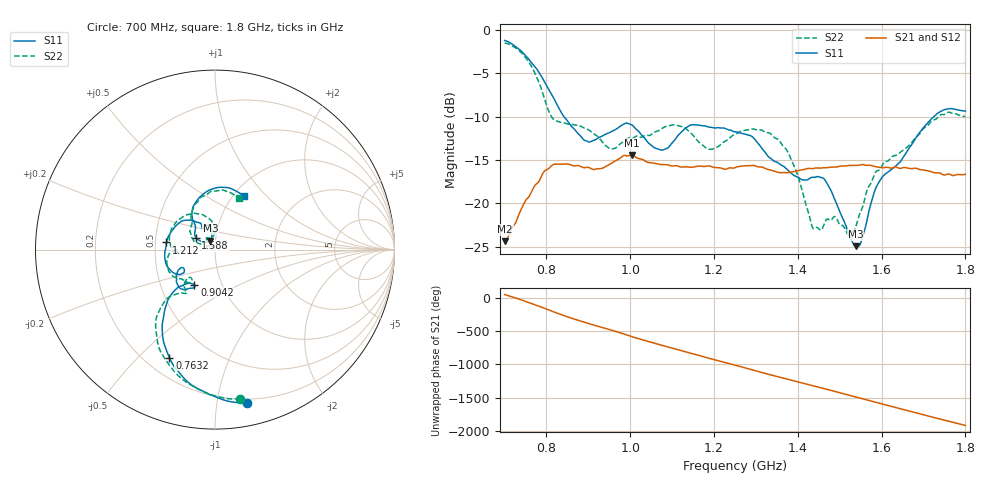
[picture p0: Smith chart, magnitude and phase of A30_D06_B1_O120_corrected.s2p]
! Created with skrf 1.9.0 (http://scikit-rf.org).
# Hz S RI R 50.0
!freq ReS11 ImS11 ReS21 ImS21 ReS12 ImS12 ReS22 ImS22
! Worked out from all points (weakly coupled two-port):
!   1601 points, 700 MHz to 1.8 GHz, reference 50 ohm
!   highest |S21| = -14.42 dB at 1.003 GHz (marker M1); lowest = -24.4 dB at 701.4 MHz (marker M2)
!   lowest |S11| = -24.9 dB at 1.538 GHz (marker M3), VSWR 1.12, Z = 47.3 + j4.81 ohm
!   |S11| at or under -10 dB: 841.9 MHz to 1.724 GHz (882.4 MHz wide, 68.8 % of centre)
!   |S22| runs from -23.6 to -1.5 dB; largest |S21 - S12| = 0.0035
!   S11 on the Smith chart (normalised r, x): 700 MHz: 0.17, -1.21; 763.2 MHz: 0.30, -0.62; 904.2 MHz: 0.74, -0.31; 1.212 GHz: 0.57, +0.05; 1.588 GHz: 0.80, +0.11; 1.8 GHz: 1.12, +0.76
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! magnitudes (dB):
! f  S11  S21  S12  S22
! 700 MHz  -1.2  -24.4  -24.2  -1.5
! 701.4 MHz  -1.2  -24.4  -24.0  -1.5
! 763.2 MHz  -3.7  -18.8  -18.8  -4.1
! 814.8 MHz  -7.7  -15.6  -15.6  -10.2
! 883.6 MHz  -12.4  -15.8  -15.7  -11.1
! 904.2 MHz  -12.9  -15.9  -15.9  -11.6
! 953.7 MHz  -11.7  -15.4  -15.4  -13.7
! 1.003 GHz  -10.9  -14.4  -14.5  -12.5
! 1.067 GHz  -13.7  -15.5  -15.4  -11.6
! 1.143 GHz  -11.0  -15.8  -15.8  -11.8
! 1.212 GHz  -11.3  -15.9  -15.9  -13.4
! 1.25 GHz  -11.7  -15.9  -15.8  -12.0
! 1.356 GHz  -15.4  -16.5  -16.4  -12.8
! 1.394 GHz  -16.8  -16.3  -16.3  -16.0
! 1.434 GHz  -17.0  -16.0  -16.0  -22.6
! 1.468 GHz  -17.5  -15.9  -15.9  -21.9
! 1.538 GHz  -24.9  -15.6  -15.6  -22.8
! 1.552 GHz  -24.3  -15.5  -15.6  -20.8
! 1.588 GHz  -18.0  -15.8  -15.8  -16.3
! 1.617 GHz  -16.3  -15.9  -15.8  -15.0
! 1.731 GHz  -9.7  -16.5  -16.5  -10.2
! 1.8 GHz  -9.4  -16.7  -16.6  -10.0
